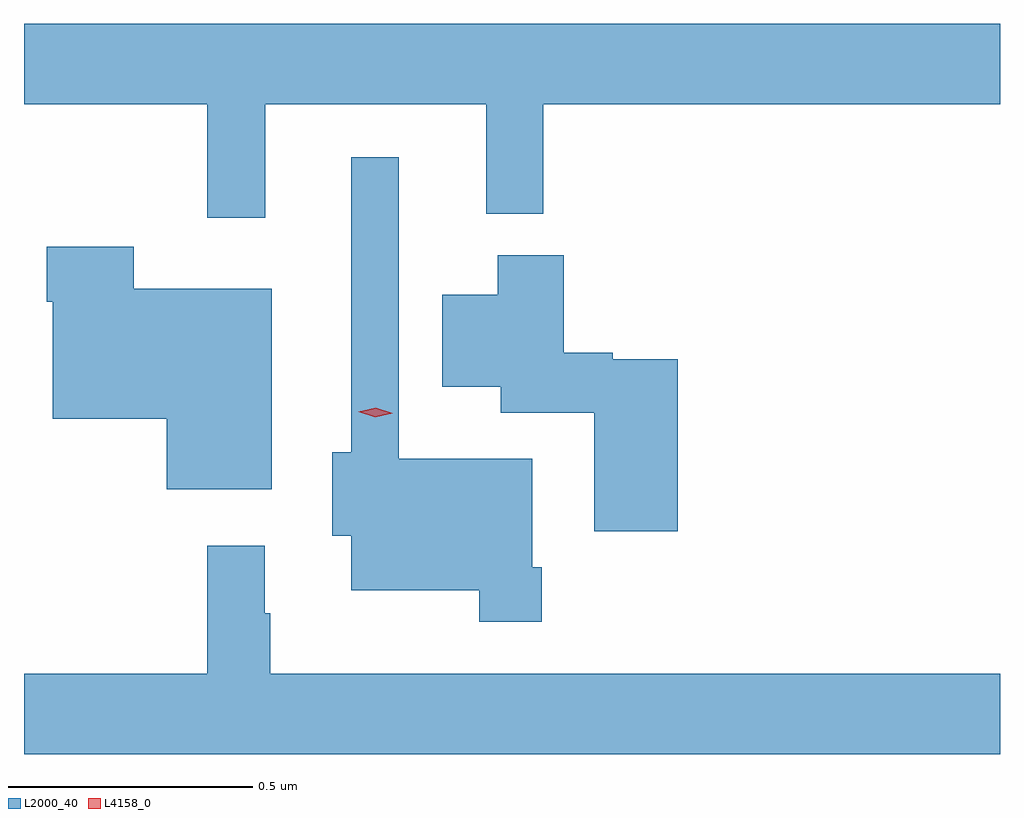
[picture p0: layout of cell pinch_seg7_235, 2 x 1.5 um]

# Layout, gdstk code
import gdstk
lib = gdstk.Library(unit=1e-6, precision=1e-09)
def P(c, l, *ps):  # polygons
    for p in ps: c.add(gdstk.Polygon(p, *l))
L2000_40 = (2000, 40)
L4158_0 = (4158, 0)

pinch_seg7_235 = lib.new_cell('pinch_seg7_235')
P(pinch_seg7_235, L2000_40, [(729.437,1037.912),(729.89,1037.912),(729.89,1037.687),(730.007,1037.687),(730.007,1037.912),(730.943,1037.912),(730.943,1038.076),(728.943,1038.076),(728.943,1037.912),(729.319,1037.912),(729.319,1037.679),(729.437,1037.679)],
  [(730.004,1036.963),(729.984,1036.963),(729.984,1037.185),(729.711,1037.185),(729.711,1037.803),(729.614,1037.803),(729.614,1037.198),(729.575,1037.198),(729.575,1037.027),(729.614,1037.027),(729.614,1036.916),(729.876,1036.916),(729.876,1036.851),(730.004,1036.851)],
  [(729.451,1037.533),(729.168,1037.533),(729.168,1037.62),(728.99,1037.62),(728.99,1037.507),(729.002,1037.507),(729.002,1037.267),(729.236,1037.267),(729.236,1037.123),(729.451,1037.123)],
  [(730.283,1037.389),(730.149,1037.389),(730.149,1037.402),(730.049,1037.402),(730.049,1037.602),(729.914,1037.602),(729.914,1037.521),(729.8,1037.521),(729.8,1037.333),(729.92,1037.333),(729.92,1037.279),(730.112,1037.279),(730.112,1037.037),(730.283,1037.037)],
  [(730.943,1036.744),(729.448,1036.744),(729.448,1036.868),(729.436,1036.868),(729.436,1037.007),(729.319,1037.007),(729.319,1036.744),(728.943,1036.744),(728.943,1036.58),(730.943,1036.58)])
P(pinch_seg7_235, L4158_0, [(729.663,1037.27),(729.628,1037.281),(729.628,1037.281),(729.628,1037.281),(729.664,1037.29),(729.699,1037.278),(729.699,1037.278),(729.699,1037.278)])

lib.write_gds('pinch_seg7_235.gds')
